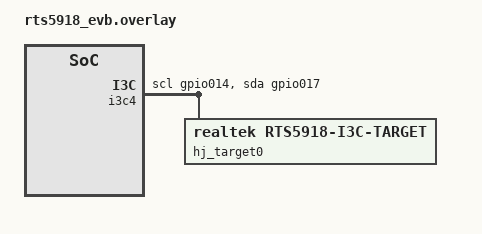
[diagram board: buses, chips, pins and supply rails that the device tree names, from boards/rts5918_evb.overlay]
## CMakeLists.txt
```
# SPDX-License-Identifier: Apache-2.0

cmake_minimum_required(VERSION 3.20.0)

find_package(Zephyr REQUIRED HINTS $ENV{ZEPHYR_BASE})
project(i3c_controller_test)

target_sources(app PRIVATE src/main.c)
```

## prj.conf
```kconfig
# I3C controller test app (Hot Join / IBI reception)
CONFIG_I3C=y
CONFIG_I3C_USE_IBI=y
CONFIG_I3C_IBI_WORKQUEUE=y
CONFIG_I3C_SHELL=y
CONFIG_SHELL=y
CONFIG_LOG=y
CONFIG_I2C=y
CONFIG_I2C_SHELL=y
```

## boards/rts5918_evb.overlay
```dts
/*
 * SPDX-License-Identifier: Apache-2.0
 *
 * Point the generic "i3c-controller-0" alias at this board's controller-mode
 * I3C instance. Change the phandle to match the instance you configured as a
 * controller in the board .dts.
 *
 * For Hot Join / IBI to surface a target at the Zephyr level, the expected
 * target(s) must be declared as child nodes of that controller node (with
 * their PID via reg), e.g.:
 *
 *   &i3c4 {
 *       status = "okay";
 *       ...
 *       some_target: target@3100... {
 *           compatible = "realtek,rts5918-i3c-target";
 *           reg = <0x31 0x04ba 0x00001004>;
 *           assigned-address = <0x09>;
 *       };
 *   };
 */

/ {
	aliases {
		i3c-controller-0 = &i3c4;
	};
};

/*
 * Declare the expected target(s) under the controller node. Following the
 * Zephyr design, a target must be declared here (matched by PID) so that when
 * it hot-joins, the ENTDAA'd dynamic address binds to its i3c_device_desc and
 * the app (auto-ENEC, IBI callback, transfers) can use it.
 *
 * reg = <static-addr  PID-msb  PID-lsb>. Adjust these to match the actual
 * target: its static address and 48-bit Provisioned ID (pid-msb/pid-lsb on the
 * target node).
 */
&i3c4 {
	/* Controller-mode config: the board .dts no longer enables i3c4, so this
	 * overlay brings it up as an I3C controller.
	 */
	status = "okay";
	pinctrl-0 = <&i3c04_scl_gpio014 &i3c04_sda_gpio017
		     &i3c04_scl_gpio014_pin_sel &i3c04_sda_gpio017_pin_sel>;
	pinctrl-names = "default";
	i3c-scl-hz = <4000000>;		/* I3C push-pull (PP): 4 MHz */
	i3c-od-scl-hz = <1000000>;	/* I3C open-drain (OD): 1 MHz */
	i2c-scl-hz = <400000>;
	primary-controller-da = <0x7c>;

	//SV6E
	/* PID 0xFFA4BA84CE07 -> pid-msb 0xFFA4, pid-lsb 0xBA84CE07.
	 * reg = <static-addr PID-msb PID-lsb>; static 0 = pure I3C (ENTDAA hot-join).
	 */
	 hj_target0: target@ffa4ba84ce07 {
	 	compatible = "realtek,rts5918-i3c-target";
	 	reg = <0x00 0xffa4 0xba84ce07>;
	 };

	// temperature sensor
	// /* PID 0x0236152A00AC -> pid-msb 0x0236, pid-lsb 0x152A00AC.
	//  */
	// hj_target1: target@236152a00ac {
	// 	compatible = "realtek,rts5918-i3c-target";
	// 	reg = <0x00 0x0236 0x152a00ac>;
	// };

	/* Legacy I2C device on the I3C bus. The middle reg cell (reg[1]) = 0 marks
	 * the node as I2C rather than I3C. reg = <i2c-addr  0x00  LVR>; LVR 0 = has
	 * 50 ns spike filter, FM+ mode.
	 */
	// i2c_dev0: target@640000000000000000 {
	// 	compatible = "realtek,rts5918-i3c-target";
	// 	reg = <0x64 0x00 0x00>;
	// };
};
```

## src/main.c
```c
/*
 * SPDX-License-Identifier: Apache-2.0
 *
 * I3C controller test app for Hot Join / IBI reception.
 *
 * Drives the controller-mode I3C instance selected by the "i3c-controller-0"
 * devicetree alias (see the board overlay) and exercises the controller side
 * of Hot Join and IBI:
 *
 *   - Hot Join: the RTK core auto-accepts a target's Hot Join and runs ENTDAA,
 *     so a hot-joined target that is declared under the controller node (by
 *     PID) gets a dynamic address and shows up in the attached device list.
 *     `i3c_controller daa` also runs a controller-initiated DAA on demand.
 *   - IBI: `i3c_controller ibi_enable` registers an IBI callback on each addressed,
 *     IBI-capable target and sends ENEC(INTR) so the target may raise IBIs.
 *     Received IBIs are logged from the callback.
 *
 * Typical flow:
 *   1. Boot; the app enumerates and enables IBI on any present target.
 *   2. (Hot Join) power/plug the target -> it hot-joins -> `i3c_controller list` to
 *      see it -> `i3c_controller ibi_enable` to enable its IBI.
 *   3. Target raises an IBI -> logged here as "IBI from 0x.. : ...".
 */

#include <zephyr/device.h>
#include <zephyr/drivers/i3c.h>
#include <zephyr/kernel.h>
#include <zephyr/logging/log.h>
#include <zephyr/sys/slist.h>
#include <zephyr/sys/sys_io.h>

LOG_MODULE_REGISTER(i3c_ctrl_test, LOG_LEVEL_INF);

#define CTRL_NODE DT_ALIAS(i3c_controller_0)

BUILD_ASSERT(DT_NODE_HAS_STATUS(CTRL_NODE, okay),
	     "alias i3c-controller-0 must point to an enabled I3C controller node");

static const struct device *const ctrl_dev = DEVICE_DT_GET(CTRL_NODE);

/* The i3c subsystem convention: a controller's dev->data starts with
 * struct i3c_driver_data, which holds the attached-device list.
 */
static struct i3c_driver_data *ctrl_data(void)
{
	return (struct i3c_driver_data *)ctrl_dev->data;
}

/* IBI received from a target. Runs in the I3C IBI workqueue thread. */
static int ctrl_ibi_cb(struct i3c_device_desc *target, struct i3c_ibi_payload *payload)
{
	if (payload != NULL && payload->payload_len > 0U) {
		LOG_INF("IBI from 0x%02x: %u byte(s), MDB=0x%02x", target->dynamic_addr,
			payload->payload_len, payload->payload[0]);
		LOG_HEXDUMP_INF(payload->payload, payload->payload_len, "IBI payload");
	} else {
		LOG_INF("IBI from 0x%02x: no payload", target->dynamic_addr);
	}

	return 0;
}

/* Run a controller-initiated dynamic address assignment. */
static int ctrl_do_daa(void)
{
	int ret = i3c_do_daa(ctrl_dev);

	LOG_INF("%s: do_daa -> %d", ctrl_dev->name, ret);
	return ret;
}

/* List the I3C devices currently attached to the controller. */
static void ctrl_list(void)
{
	struct i3c_device_desc *desc;
	bool any = false;

	SYS_SLIST_FOR_EACH_CONTAINER(&ctrl_data()->attached_dev.devices.i3c, desc, node) {
		LOG_INF("dev: dynamic-addr=0x%02x static-addr=0x%02x pid=0x%012llx bcr=0x%02x "
			"ibi-capable=%d",
			desc->dynamic_addr, desc->static_addr, (unsigned long long)desc->pid,
			desc->bcr, i3c_device_is_ibi_capable(desc) ? 1 : 0);
		any = true;
	}

	if (!any) {
		LOG_INF("%s: no attached I3C devices (run 'i3c_controller daa' or hot-join a "
			"target)",
			ctrl_dev->name);
	}
}

/* Armed by `i3c_controller ibi_enable`: auto-ENEC any target that (hot-)joins. */
static volatile bool auto_ibi;

/*
 * Enable IBI on any addressed, IBI-capable target that isn't enabled yet
 * (ibi_cb == NULL used as the "already enabled" marker). Called repeatedly by
 * the auto thread so a target that hot-joins later -- the RTK core auto-runs
 * DAA on Hot Join -- gets its ENEC(INTR) issued automatically, no extra call.
 */
static void ctrl_ibi_enable_new(void)
{
	struct i3c_device_desc *desc;

	SYS_SLIST_FOR_EACH_CONTAINER(&ctrl_data()->attached_dev.devices.i3c, desc, node) {
		int ret;

		if (desc->dynamic_addr == 0U || !i3c_device_is_ibi_capable(desc) ||
		    desc->ibi_cb != NULL) {
			continue;
		}

		desc->ibi_cb = ctrl_ibi_cb;
		ret = i3c_ibi_enable(desc);
		LOG_INF("%s: auto ENEC 0x%02x -> %d", ctrl_dev->name, desc->dynamic_addr, ret);
		if (ret != 0) {
			desc->ibi_cb = NULL; /* leave it for a later retry */
		}
	}
}

static void ctrl_ibi_disable_all(void)
{
	struct i3c_device_desc *desc;

	SYS_SLIST_FOR_EACH_CONTAINER(&ctrl_data()->attached_dev.devices.i3c, desc, node) {
		int ret;

		if (desc->ibi_cb == NULL) {
			continue;
		}

		ret = i3c_ibi_disable(desc);
		LOG_INF("%s: DISEC 0x%02x -> %d", ctrl_dev->name, desc->dynamic_addr, ret);
		desc->ibi_cb = NULL;
	}
}

/* While armed, keep enabling IBI on newly (hot-)joined targets. */
static void ctrl_auto_thread(void)
{
	while (1) {
		if (auto_ibi && device_is_ready(ctrl_dev)) {
			ctrl_ibi_enable_new();
		}
		k_sleep(K_MSEC(200));
	}
}

#define CTRL_THREAD_STACK 1024
#define CTRL_THREAD_PRIO  7
K_THREAD_DEFINE(ctrl_auto_tid, CTRL_THREAD_STACK, ctrl_auto_thread, NULL, NULL, NULL,
		CTRL_THREAD_PRIO, 0, 0);

#ifdef CONFIG_SHELL
#include <zephyr/shell/shell.h>

static int cmd_daa(const struct shell *sh, size_t argc, char **argv)
{
	ARG_UNUSED(argc);
	ARG_UNUSED(argv);
	return ctrl_do_daa();
}

static int cmd_list(const struct shell *sh, size_t argc, char **argv)
{
	ARG_UNUSED(argc);
	ARG_UNUSED(argv);
	ctrl_list();
	return 0;
}

/* Dump the controller registers that gate Hot Join acceptance. */
static int cmd_reg(const struct shell *sh, size_t argc, char **argv)
{
	uintptr_t base = DT_REG_ADDR(CTRL_NODE);
	uint32_t ccr = sys_read32(base + 0x00);   /* CCR: ROLE/PCR/DMA */
	uint32_t csr = sys_read32(base + 0x18);   /* CSR: BUSY/BBUSYN */
	uint32_t ec = sys_read32(base + 0x80);    /* EC: INT/CR/HJ/TREQ_DIS */
	uint32_t cbdr = sys_read32(base + 0x14);  /* CBDR: FST/PP/OD baud dividers */
	uint32_t tinit = sys_read32(base + 0x34); /* TINIT: THIGH_OD [31:20] */
	uint32_t bdr_od = cbdr & 0xffff;
	uint32_t bdr_pp = (cbdr >> 16) & 0xff;
	uint32_t bdr_fst = (cbdr >> 24) & 0xff;
	uint32_t thigh_od = (tinit >> 20) & 0xfff;

	shell_print(sh, "CCR=0x%08x (ROLE=%u PCR=%u)", ccr, ccr & 0x1, (ccr >> 1) & 0x1);
	shell_print(sh, "CSR=0x%08x (BUSY=%u BBUSYN=%u)", csr, csr & 0x1, (csr >> 1) & 0x1);
	shell_print(sh, "EC =0x%08x (INT/IBI=%u CR=%u HJ=%u TREQ_DIS=%u)  <-- HJ=1 means ACK HJ",
		    ec, ec & 0x1, (ec >> 1) & 0x1, (ec >> 3) & 0x1, (ec >> 16) & 0x1);
	shell_print(sh, "CBDR=0x%08x  BDR_PP=%u BDR_OD=%u BDR_FST=%u", cbdr, bdr_pp, bdr_od,
		    bdr_fst);
	shell_print(sh, "TINIT=0x%08x THIGH_OD=%u", tinit, thigh_od);
	/* 125 MHz I3C clock (PLL125M, IPDIV5=/1): PP = clk/(2*BDR_PP), OD = clk/(2*BDR_OD). */
	if (bdr_pp) {
		shell_print(sh, "  -> PP ~= %u kHz", (unsigned int)(125000U / (2U * bdr_pp)));
	}
	if (bdr_od) {
		shell_print(sh, "  -> OD ~= %u kHz", (unsigned int)(125000U / (2U * bdr_od)));
	}
	return 0;
}

static int cmd_ibi_enable(const struct shell *sh, size_t argc, char **argv)
{
	ARG_UNUSED(argc);
	ARG_UNUSED(argv);

	auto_ibi = true;
	shell_print(sh, "auto-IBI armed: any target that (hot-)joins is DAA'd (by the "
			"core) and ENEC'd automatically");
	/* Enable anything already present without waiting for the poll. */
	ctrl_ibi_enable_new();
	return 0;
}

static int cmd_ibi_disable(const struct shell *sh, size_t argc, char **argv)
{
	ARG_UNUSED(argc);
	ARG_UNUSED(argv);

	auto_ibi = false;
	ctrl_ibi_disable_all();
	return 0;
}

SHELL_STATIC_SUBCMD_SET_CREATE(
	ctrl_subcmds,
	SHELL_CMD(daa, NULL, "Run dynamic address assignment (also accepts pending targets)",
		  cmd_daa),
	SHELL_CMD(list, NULL, "List attached I3C devices", cmd_list),
	SHELL_CMD(reg, NULL, "Dump CCR/CSR/EC (HJ-accept) registers", cmd_reg),
	SHELL_CMD(ibi_enable, NULL, "Arm auto-IBI: (hot-)joined targets get ENEC'd automatically",
		  cmd_ibi_enable),
	SHELL_CMD(ibi_disable, NULL, "Disarm auto-IBI and DISEC all targets", cmd_ibi_disable),
	SHELL_SUBCMD_SET_END);

SHELL_CMD_REGISTER(i3c_controller, &ctrl_subcmds, "I3C controller HJ/IBI test controls", NULL);
#endif /* CONFIG_SHELL */

int main(void)
{
	printk("I3C controller test on %s\n", CONFIG_BOARD_TARGET);

	if (!device_is_ready(ctrl_dev)) {
		LOG_ERR("%s not ready", ctrl_dev->name);
		return 0;
	}

	/* Arm auto-IBI at boot (Zephyr convention: per-device ENEC(INTR) is the
	 * app's job). When a target (hot-)joins, the driver auto-runs DAA and binds
	 * it; this app then ENECs it automatically -- no shell command needed.
	 * 'i3c_controller ibi_disable' disarms.
	 */
	auto_ibi = true;
	LOG_INF("%s: controller ready; auto-IBI armed", ctrl_dev->name);

	return 0;
}
```
